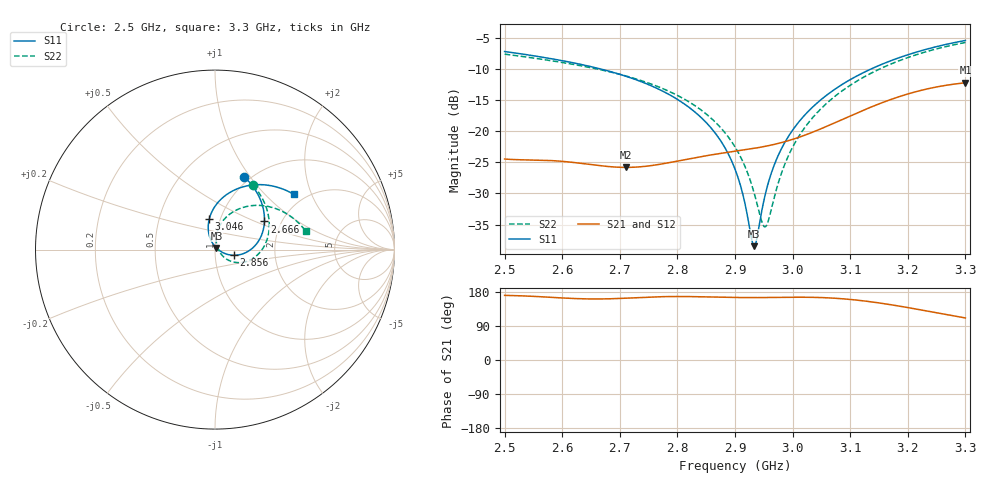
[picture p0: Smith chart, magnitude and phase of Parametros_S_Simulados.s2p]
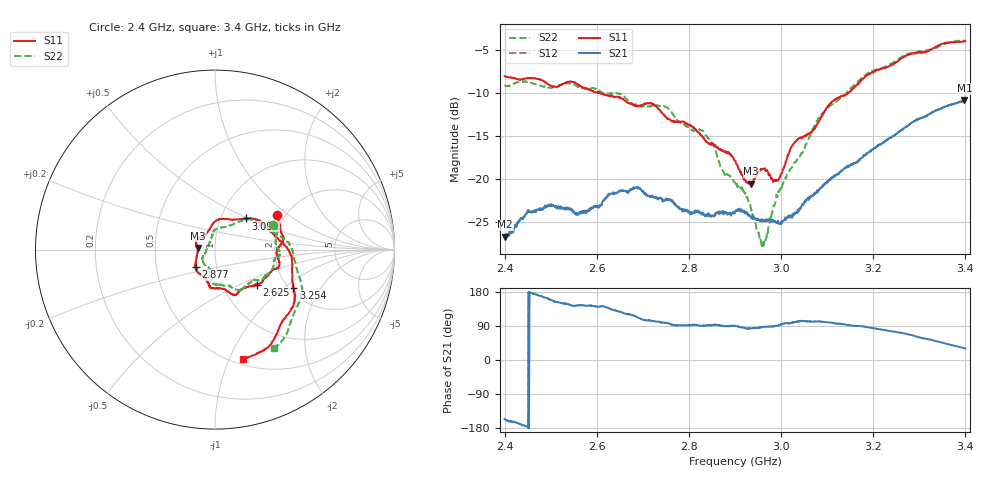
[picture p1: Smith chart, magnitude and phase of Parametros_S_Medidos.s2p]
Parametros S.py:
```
# ---
# jupyter:
#   jupytext:
#     formats: ipynb,py:percent
#     text_representation:
#       extension: .py
#       format_name: percent
#       format_version: '1.3'
#       jupytext_version: 1.17.3
#   kernelspec:
#     display_name: Python 3 (ipykernel)
#     language: python
#     name: python3
# ---

# %%
import skrf as rf

# %%
simulados = rf.Network('./simulaciones/Parametros_S_Simulados.s2p')
medidos = rf.Network('./mediciones/Parametros_S_Medidos.s2p')

# %%
rf.stylely()

# %%
simulados

# %%
medidos

# %% [markdown]
# Recorto las frecuencias a 2.4 - 3.3 para que quede todo igualito
# %%
simulados = simulados['2.4-3.4ghz']
medidos = medidos['2.4-3.4ghz']
# %% [markdown]
# # Parametros medidos

# %% [markdown]
# ## Parametros S

# %%
import matplotlib.pyplot as plt

# %%
medidos.frequency.unit = 'ghz'
medidos.plot_s_db(n=0, m=0, label='S11', title='Parametros S medidos')
medidos.plot_s_db(n=1, m=0, label='S21')
plt.savefig('./ploteos/S_medidos.png')

# %%
frequencies = ['2.7ghz', '2.9ghz', '3.1ghz']
for freq in frequencies:
    s11 = medidos[freq].s_db[0, 0, 0]
    s21 = medidos[freq].s_db[0, 1, 0]
    print(f'S11 {freq.upper()}: {s11:.2f} dB')
    print(f'S21 {freq.upper()}: {s21:.2f} dB')
    print()

# %% [markdown]
# ## VSWR

# %%
medidos.plot_s_vswr(n=0, m=0, label='VSWR', title='VSWR medido')
plt.savefig('./ploteos/VSWR_medido')
# %%
frequencies = ['2.7ghz', '2.9ghz', '3.1ghz']
for freq in frequencies:
    s11 = medidos[freq].s_vswr[0, 0, 0]
    print(f'S11 {freq.upper()}: {s11:.2f} dB')

# %% [markdown]
# # Parametros Simulados

# %% [markdown]
# ## Parametros S

# %%
simulados.frequency.unit = 'ghz'
simulados.plot_s_db(n=0, m=0, label='S11', title='Parametros S simulados')
simulados.plot_s_db(n=1, m=0, label='S21')
plt.savefig('./ploteos/S_simulados.png')

# %%
frequencies = ['2.7ghz', '2.9ghz', '3.1ghz']
for freq in frequencies:
    s11 = simulados[freq].s_db[0, 0, 0]
    s21 = simulados[freq].s_db[0, 1, 0]
    print(f'S11 {freq.upper()}: {s11:.2f} dB')
    print(f'S21 {freq.upper()}: {s21:.2f} dB')
    print()

# %% [markdown]
# ## VSWR

# %%
simulados.plot_s_vswr(n=0, m=0, label='VSWR', title='VSWR simulado')
plt.savefig('./ploteos/VSWR_simulado')

# %%
frequencies = ['2.7ghz', '2.9ghz', '3.1ghz']
for freq in frequencies:
    s11 = simulados[freq].s_vswr[0, 0, 0]
    print(f'S11 {freq.upper()}: {s11:.2f} dB')
```
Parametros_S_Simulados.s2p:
! TOUCHSTONE file generated by CST MICROWAVE STUDIO
! Date and time: Mon Oct 20 04:36:43 2025
! Project name: Diseño Final_German Pedre.cst
! Parameters = {Coef_Largo_Aba=2.5; Coef_Largo_Der=2.5; Cuarto=14; Cuarto2=8; Dist_Coef=0.15; Dist_sop=1.5; Er=4.6; Hc=0.035; Hr=1; Hs=1.524; Lamb=103.448; Lamb_sus=48.233; Lc=55; Le2=10; Lfeed=13.2; Lint=10.4; Lpad=1.5; Lr=2.15; Ls=55; LstubD=3; Lsup=8.3; Rpad=1; Rsop=1.5; Rvia=0.3; Wc=55; Wdelgada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
! Header version: 2018
! Port assignment regex: !\s*Touchstone port\s*([0-9]+)\s*=\s*(CST MWS port|CST DS port)\s*([0-9]+|Zmin|Zmax)\s*\(\"(.*)\"\)(\s*mode\s*([0-9]+))?.*
! Touchstone port assignment:
! Touchstone port 1 = CST MWS port 1 ("")
! Touchstone port 2 = CST MWS port 2 ("")
# GHz S MA R 50
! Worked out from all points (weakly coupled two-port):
!   1001 points, 2.5 GHz to 3.3 GHz, reference 50 ohm
!   highest |S21| = -12.22 dB at 3.3 GHz (marker M1); lowest = -25.8 dB at 2.711 GHz (marker M2)
!   lowest |S11| = -38.5 dB at 2.934 GHz (marker M3), VSWR 1.02, Z = 50.8 + j0.896 ohm
!   |S11| at or under -10 dB: 2.667 GHz to 3.136 GHz (469.7 MHz wide, 16.2 % of centre)
!   |S22| runs from -35.4 to -5.7 dB; largest |S21 - S12| = 0.00024
!   S11 on the Smith chart (normalised r, x): 2.5 GHz: 0.93, +0.94; 2.666 GHz: 1.64, +0.57; 2.856 GHz: 1.23, -0.08; 3.046 GHz: 0.89, +0.31; 3.3 GHz: 1.73, +1.50
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2.5  0.4367 68.3  0.05981 170.6  0.05981 170.5  0.416 59.3
2.6656  0.3171 29.6  0.05287 161.1  0.05287 161.0  0.3124 17.0
2.7112  0.2759 18.3  0.05123 163.2  0.05122 163.1  0.2773 4.8
2.856  0.1095 -16.8  0.06427 166.3  0.06424 166.3  0.1303 -32.8
2.9  0.04967 -21.3  0.06903 165.0  0.06899 164.9  0.07483 -40.1
2.9336  0.01194 47.6  0.07292 164.6  0.07287 164.6  0.0315 -30.3
2.9544  0.03364 109.0  0.07594 164.8  0.07588 164.8  0.01741 32.6
2.9936  0.09215 111.5  0.08422 165.5  0.08414 165.5  0.06484 84.1
3.0464  0.1747 100.5  0.1033 164.9  0.1032 164.9  0.147 77.3
3.176  0.3764 67.1  0.1835 144.5  0.1833 144.5  0.3546 43.9
3.3  0.5357 35.2  0.2449 110.9  0.2447 110.9  0.5162 11.4
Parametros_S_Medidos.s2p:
!Keysight Technologies N9918A: A.08.01
!Date: Friday, 25 April 2025 16:58:00
!Timezone: (GMT-03:00) Buenos Aires
!Model: N9918A
!Serial: MY53105265
!GPS Latitude:
!GPS Longitude:
!GPS TimeStamp: 0001-01-01 00:00:00Z
!GPS Seconds Since Last Read: 0
!CHECKSUM:0469718480
!Correction: S11(ON U)S21(ON U)S12(ON U)S22(ON U)
!S2P File: Measurements:S11,S21,S12,S22:
# Hz S DB R 50
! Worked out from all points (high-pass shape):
!   1001 points, 2.4 GHz to 3.4 GHz, reference 50 ohm
!   highest |S21| = -10.84 dB at 3.398 GHz (marker M1); lowest = -26.7 dB at 2.401 GHz (marker M2)
!   |S21| within 3 dB of the highest: 3.273 GHz to end of sweep
!   lowest |S11| = -20.5 dB at 2.935 GHz (marker M3), VSWR 1.21, Z = 41.4 + j0.76 ohm
!   |S11| at or under -10 dB: 2.603978 GHz to 2.604032 GHz (54 kHz wide, 0.00207 % of centre); 2.608 GHz to 3.146 GHz (537.9 MHz wide, 18.7 % of centre)
!   |S22| runs from -27.7 to -3.9 dB; largest |S21 - S12| = 0.0032
!   S11 on the Smith chart (normalised r, x): 2.4 GHz: 1.82, +0.83; 2.625 GHz: 1.45, -0.63; 2.877 GHz: 0.79, -0.15; 3.093 GHz: 1.32, +0.49; 3.254 GHz: 2.11, -1.17; 3.4 GHz: 0.55, -1.13
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2.4e9  -8.04 29.1  -26.49 -156.1  -26.61 -156.7  -9.17 22.9
2.401e9  -8.06 28.7  -26.65 -157.1  -26.44 -156.7  -9.13 22.6
2.625e9  -10.33 -39.9  -21.84 137.3  -21.84 137.5  -10.05 -28.5
2.877e9  -16.82 -138.5  -23.89 89.1  -23.77 89.8  -19.35 -107.9
2.9e9  -17.82 -147.4  -23.75 90.0  -23.71 90.0  -20.39 -133.2
2.935e9  -20.51 174.5  -24.32 83.3  -24.52 84.3  -23.40 -156.8
2.963e9  -18.76 152.8  -24.76 87.5  -24.72 87.0  -27.59 147.6
3.093e9  -12.21 45.1  -20.57 100.7  -20.63 100.3  -12.19 43.0
3.254e9  -6.27 -25.9  -14.55 72.5  -14.62 73.1  -6.07 -18.2
3.398e9  -4.00 -74.8  -10.84 30.9  -10.88 30.9  -3.90 -58.6
3.4e9  -3.99 -75.6  -10.85 30.3  -10.86 30.4  -3.90 -59.2
